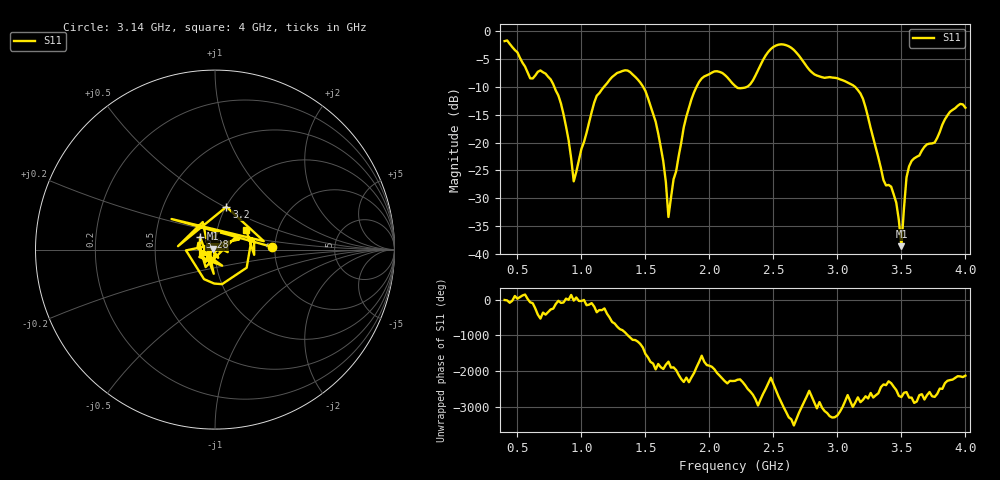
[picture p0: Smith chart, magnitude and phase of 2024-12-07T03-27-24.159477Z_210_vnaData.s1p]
!Created with skrf (http://scikit-rf.org).
# Hz S RI R 50.0
!freq ReS11 ImS11
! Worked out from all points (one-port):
!   181 points, 400 MHz to 4 GHz, reference 50 ohm
!   lowest |S11| = -38.6 dB at 3.5 GHz (marker M1), VSWR 1.02, Z = 49 + j0.531 ohm
!   |S11| at or under -10 dB: 788.3 MHz to 1.176 GHz (387.8 MHz wide, 39.5 % of centre); 1.482 GHz to 1.899 GHz (417.1 MHz wide, 24.7 % of centre); 3.138 GHz to end of sweep (the widest 3 of 4)
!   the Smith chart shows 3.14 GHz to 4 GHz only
!   S11 on the Smith chart (normalised r, x): 3.14 GHz: 1.92, +0.07; 3.2 GHz: 1.01, +0.51; 3.28 GHz: 0.84, +0.12; 4 GHz: 1.38, +0.32
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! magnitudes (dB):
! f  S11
! 400 MHz  -1.8
! 600 MHz  -8.5
! 760 MHz  -8.7
! 860 MHz  -14.9
! 940 MHz  -26.9
! 1.12 GHz  -11.6
! 1.3 GHz  -7.3
! 1.52 GHz  -12.0
! 1.64 GHz  -23.4
! 1.68 GHz  -33.3
! 1.76 GHz  -22.4
! 1.86 GHz  -12.2
! 1.94 GHz  -8.5
! 2.2 GHz  -9.8
! 2.32 GHz  -9.5
! 2.5 GHz  -2.8
! 2.66 GHz  -3.4
! 2.82 GHz  -7.8
! 3.1 GHz  -9.5
! 3.14 GHz  -10.0
! 3.2 GHz  -12.2
! 3.28 GHz  -19.1
! 3.36 GHz  -26.7
! 3.46 GHz  -30.8
! 3.5 GHz  -38.6
! 3.54 GHz  -26.2
! 3.56 GHz  -24.3
! 4 GHz  -13.7
